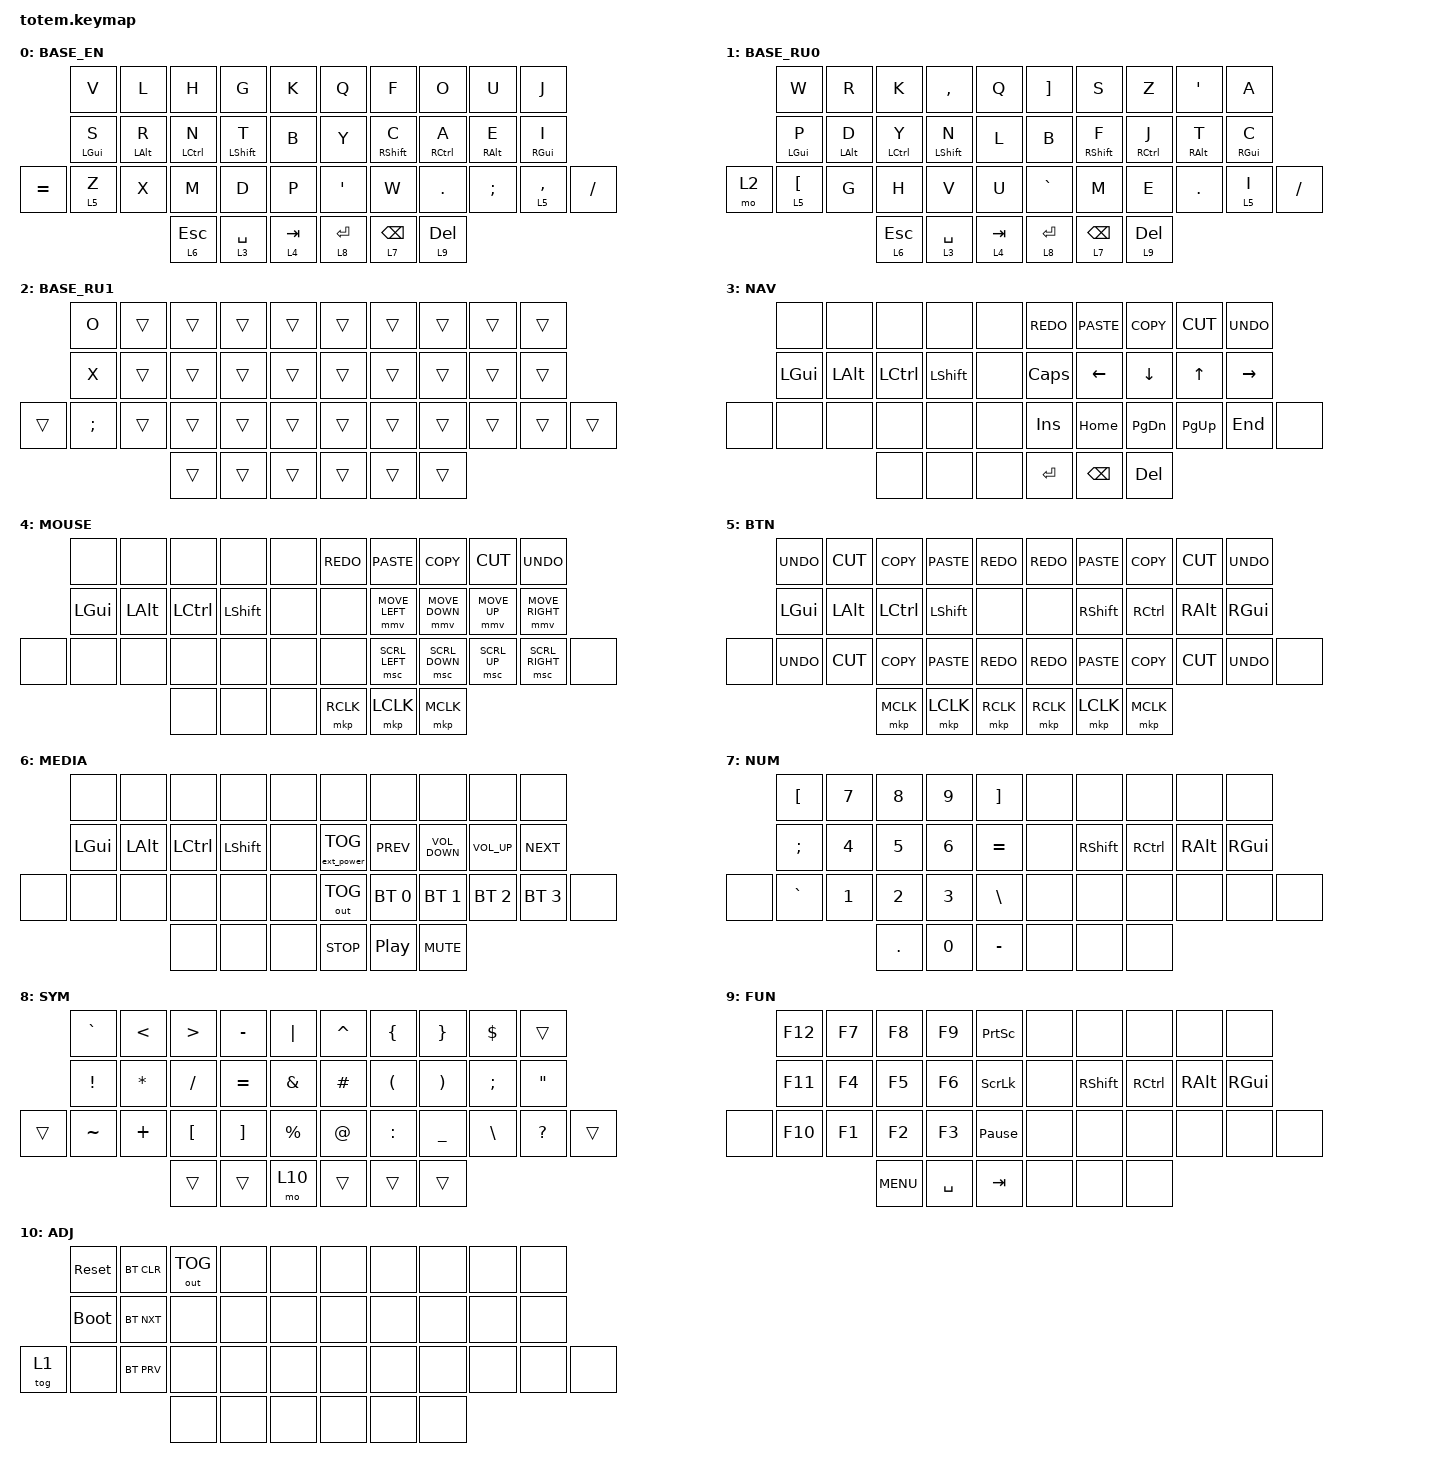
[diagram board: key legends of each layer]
#include <behaviors.dtsi>
#include <dt-bindings/zmk/bt.h>
#include <dt-bindings/zmk/ext_power.h>
#include <dt-bindings/zmk/keys.h>
#include <dt-bindings/zmk/outputs.h>
#include <dt-bindings/zmk/pointing.h>

#define BASE_EN 0
#define BASE_RU 1
#define NAVI    2
#define SYM     3
#define ADJ     4

&mt {
    tapping-term-ms = <170>;
    quick-tap-ms = <100>;
    flavor = "tap-preferred";
    global-quick-tap;
};

/ {
    combos {
        compatible = "zmk,combos";

        combo_esc {
            bindings = <&kp ESCAPE>;
            key-positions = <0 1>;
            timeout-ms = <50>;
        };

        combo_adj {
            bindings = <&mo 10>;
            key-positions = <34 35>;
            timeout-ms = <50>;
        };
    };

    keymap {
        compatible = "zmk,keymap";

        base_layer_en {
            label = "BASE_EN";
            bindings = <
           &kp V       &kp L       &kp H        &kp G        &kp K        &kp Q        &kp F            &kp O         &kp U       &kp J
           &mt LGUI S  &mt LALT R  &mt LCTRL N  &mt LSHFT T  &kp B        &kp Y        &mt RSHFT C      &mt RCTRL A   &mt RALT E  &mt RGUI I
&kp EQUAL  &lt 5 Z     &kp X       &kp M        &kp D        &kp P        &kp SQT      &kp W            &kp DOT       &kp SEMI    &lt 5 COMMA  &kp SLASH
                                   &lt 6 ESC    &lt 3 SPACE  &lt 4 TAB    &lt 8 ENTER  &lt 7 BACKSPACE  &lt 9 DELETE
            >;
        };

        base_layer_ru0 {
            label = "BASE_RU0";
            bindings = <
       &kp W               &kp R       &kp K         &kp COMMA    &kp Q        &kp RBKT     &kp S            &kp Z         &kp SQT     &kp A
       &mt LGUI P          &mt LALT D  &mt LCTRL Y   &mt LSHFT N  &kp L        &kp B        &mt RSHFT F      &mt RCTRL J   &mt RALT T  &mt RGUI C
&mo 2  &lt 5 LEFT_BRACKET  &kp G       &kp H         &kp V        &kp U        &kp GRAVE    &kp M            &kp E         &kp DOT     &lt 5 I     &kp SLASH
                                       &lt 6 ESCAPE  &lt 3 SPACE  &lt 4 TAB    &lt 8 ENTER  &lt 7 BACKSPACE  &lt 9 DELETE
            >;
        };

        base_layer_ru1 {
            bindings = <
        &kp O     &trans  &trans  &trans  &trans    &trans  &trans  &trans  &trans  &trans
        &kp X     &trans  &trans  &trans  &trans    &trans  &trans  &trans  &trans  &trans
&trans  &kp SEMI  &trans  &trans  &trans  &trans    &trans  &trans  &trans  &trans  &trans  &trans
                          &trans  &trans  &trans    &trans  &trans  &trans
            >;

            label = "BASE_RU1";
        };

        nav_layer {
            bindings = <
       &none     &none     &none      &none       &none    &kp K_REDO    &kp K_PASTE    &kp K_COPY     &kp K_CUT    &kp K_UNDO
       &kp LGUI  &kp LALT  &kp LCTRL  &kp LSHIFT  &none    &kp CAPSLOCK  &kp LEFT       &kp DOWN       &kp UP       &kp RIGHT
&none  &none     &none     &none      &none       &none    &kp INSERT    &kp HOME       &kp PAGE_DOWN  &kp PAGE_UP  &kp END     &none
                           &none      &none       &none    &kp ENTER     &kp BACKSPACE  &kp DEL
            >;

            label = "NAV";
        };

        mouse_layer {
            bindings = <
       &none     &none     &none      &none       &none    &kp K_REDO  &kp K_PASTE     &kp K_COPY      &kp K_CUT     &kp K_UNDO
       &kp LGUI  &kp LALT  &kp LCTRL  &kp LSHIFT  &none    &none       &mmv MOVE_LEFT  &mmv MOVE_DOWN  &mmv MOVE_UP  &mmv MOVE_RIGHT
&none  &none     &none     &none      &none       &none    &none       &msc SCRL_LEFT  &msc SCRL_DOWN  &msc SCRL_UP  &msc SCRL_RIGHT  &none
                           &none      &none       &none    &mkp RCLK   &mkp LCLK       &mkp MCLK
            >;

            label = "MOUSE";
        };

        button_layer {
            bindings = <
       &kp K_UNDO  &kp K_CUT  &kp K_COPY  &kp K_PASTE  &kp K_REDO    &kp K_REDO  &kp K_PASTE  &kp K_COPY  &kp K_CUT  &kp K_UNDO
       &kp LGUI    &kp LALT   &kp LCTRL   &kp LSHIFT   &none         &none       &kp RSHIFT   &kp RCTRL   &kp RALT   &kp RGUI
&none  &kp K_UNDO  &kp K_CUT  &kp K_COPY  &kp K_PASTE  &kp K_REDO    &kp K_REDO  &kp K_PASTE  &kp K_COPY  &kp K_CUT  &kp K_UNDO  &none
                              &mkp MCLK   &mkp LCLK    &mkp RCLK     &mkp RCLK   &mkp LCLK    &mkp MCLK
            >;

            label = "BTN";
        };

        media_layer {
            bindings = <
       &none     &none     &none      &none       &none    &none              &none             &none              &none            &none
       &kp LGUI  &kp LALT  &kp LCTRL  &kp LSHIFT  &none    &ext_power EP_TOG  &kp C_PREV        &kp C_VOLUME_DOWN  &kp C_VOLUME_UP  &kp C_NEXT
&none  &none     &none     &none      &none       &none    &out OUT_TOG       &bt BT_SEL 0      &bt BT_SEL 1       &bt BT_SEL 2     &bt BT_SEL 3  &none
                           &none      &none       &none    &kp C_STOP         &kp C_PLAY_PAUSE  &kp C_MUTE
            >;

            label = "MEDIA";
        };

        num_layer {
            bindings = <
       &kp LBKT   &kp N7  &kp N8   &kp N9  &kp RBKT     &none  &none      &none      &none     &none
       &kp SEMI   &kp N4  &kp N5   &kp N6  &kp EQUAL    &none  &kp RSHFT  &kp RCTRL  &kp RALT  &kp RGUI
&none  &kp GRAVE  &kp N1  &kp N2   &kp N3  &kp BSLH     &none  &none      &none      &none     &none     &none
                          &kp DOT  &kp N0  &kp MINUS    &none  &none      &none
            >;

            label = "NUM";
        };

        sym_layer {
            bindings = <
        &kp GRAVE        &kp LESS_THAN  &kp GREATER_THAN  &kp MINUS          &kp PIPE         &kp CARET    &kp LEFT_BRACE        &kp RIGHT_BRACE        &kp DOLLAR     &trans
        &kp EXCLAMATION  &kp ASTERISK   &kp SLASH         &kp EQUAL          &kp AMPERSAND    &kp HASH     &kp LEFT_PARENTHESIS  &kp RIGHT_PARENTHESIS  &kp SEMICOLON  &kp DOUBLE_QUOTES
&trans  &kp TILDE        &kp PLUS       &kp LEFT_BRACKET  &kp RIGHT_BRACKET  &kp PERCENT      &kp AT_SIGN  &kp COLON             &kp UNDERSCORE         &kp BACKSLASH  &kp QUESTION       &trans
                                        &trans            &trans             &mo 10           &trans       &trans                &trans
            >;

            label = "SYM";
        };

        fun_layer {
            bindings = <
       &kp F12  &kp F7  &kp F8      &kp F9     &kp PRINTSCREEN    &none  &none      &none      &none     &none
       &kp F11  &kp F4  &kp F5      &kp F6     &kp SCROLLLOCK     &none  &kp RSHFT  &kp RCTRL  &kp RALT  &kp RGUI
&none  &kp F10  &kp F1  &kp F2      &kp F3     &kp PAUSE_BREAK    &none  &none      &none      &none     &none     &none
                        &kp C_MENU  &kp SPACE  &kp TAB            &none  &none      &none
            >;

            label = "FUN";
        };

        adjust_layer {
            bindings = <
        &sys_reset   &bt BT_CLR  &out OUT_TOG  &none  &none    &none  &none  &none  &none  &none
        &bootloader  &bt BT_NXT  &none         &none  &none    &none  &none  &none  &none  &none
&tog 1  &none        &bt BT_PRV  &none         &none  &none    &none  &none  &none  &none  &none  &none
                                 &none         &none  &none    &none  &none  &none
            >;

            label = "ADJ";
        };
    };
};
